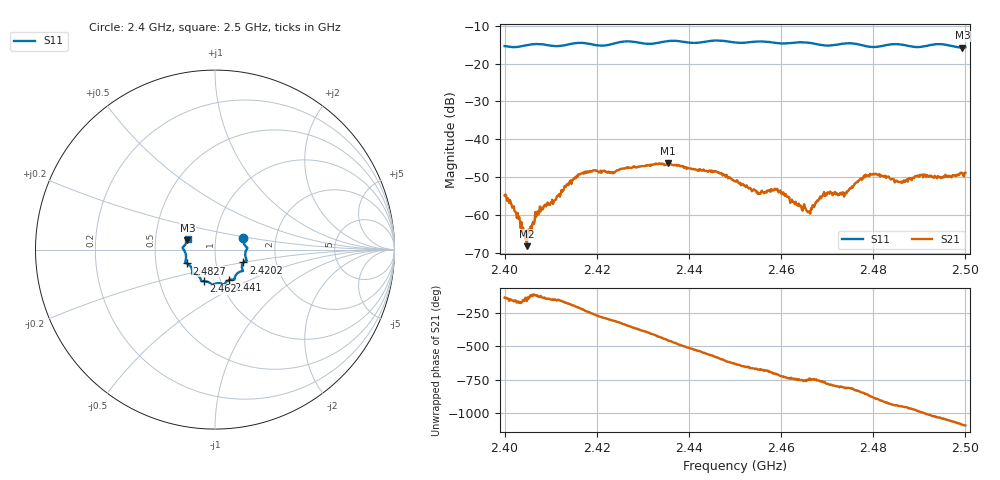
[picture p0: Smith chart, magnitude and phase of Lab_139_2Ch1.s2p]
# Hz S RI R 50
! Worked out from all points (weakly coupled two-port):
!   601 points, 2.4 GHz to 2.5 GHz, reference 50 ohm
!   highest |S21| = -46.23 dB at 2.4355 GHz (marker M1); lowest = -68.2 dB at 2.4048 GHz (marker M2)
!   lowest |S11| = -15.8 dB at 2.4993 GHz (marker M3), VSWR 1.39, Z = 36.5 + j3.86 ohm
!   |S11| at or under -10 dB: start of sweep to end of sweep
!   S12 and S22 are empty: the file has one direction only
!   S11 on the Smith chart (normalised r, x): 2.4 GHz: 1.36, +0.18; 2.4202 GHz: 1.36, -0.20; 2.441 GHz: 1.10, -0.39; 2.462 GHz: 0.83, -0.30; 2.4827 GHz: 0.72, -0.12; 2.5 GHz: 0.73, +0.09
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2.4e9  0.1582 0.0624  -0.00133 -0.00123  0 0  0 0
2.404833e9  0.1742 0.0149  -0.000373 -0.000111  0 0  0 0
2.407167e9  0.1808 0.0089  -0.000689 -0.000877  0 0  0 0
2.416667e9  0.1772 -0.0606  -0.00264 0.00238  0 0  0 0
2.420167e9  0.1582 -0.0713  8.98e-05 0.00379  0 0  0 0
2.433333e9  0.1116 -0.1509  0.00176 -0.00436  0 0  0 0
2.4355e9  0.1094 -0.1654  -0.000698 -0.00483  0 0  0 0
2.441e9  0.0783 -0.1701  -0.0039 -0.00105  0 0  0 0
2.45e9  0.0282 -0.1876  9.05e-05 0.0028  0 0  0 0
2.455167e9  -0.0132 -0.1952  0.0014 0.00135  0 0  0 0
2.459333e9  -0.0353 -0.1821  0.00207 0.000259  0 0  0 0
2.462e9  -0.0607 -0.1759  0.00132 -0.000583  0 0  0 0
2.465833e9  -0.0777 -0.172  0.000903 -0.000603  0 0  0 0
2.466667e9  -0.0789 -0.168  0.00106 -0.000538  0 0  0 0
2.468833e9  -0.0868 -0.152  0.00125 -0.00124  0 0  0 0
2.474167e9  -0.1258 -0.135  -2.6e-06 -0.00194  0 0  0 0
2.478333e9  -0.1279 -0.1119  -0.00248 -0.00237  0 0  0 0
2.482667e9  -0.1564 -0.0773  -0.00304 0.00119  0 0  0 0
2.483333e9  -0.1607 -0.0751  -0.00283 0.00155  0 0  0 0
2.486e9  -0.1653 -0.0669  -0.00177 0.00211  0 0  0 0
2.499333e9  -0.1539 0.0516  0.00354 -0.00043  0 0  0 0
2.5e9  -0.1523 0.061  0.00354 -0.000805  0 0  0 0
